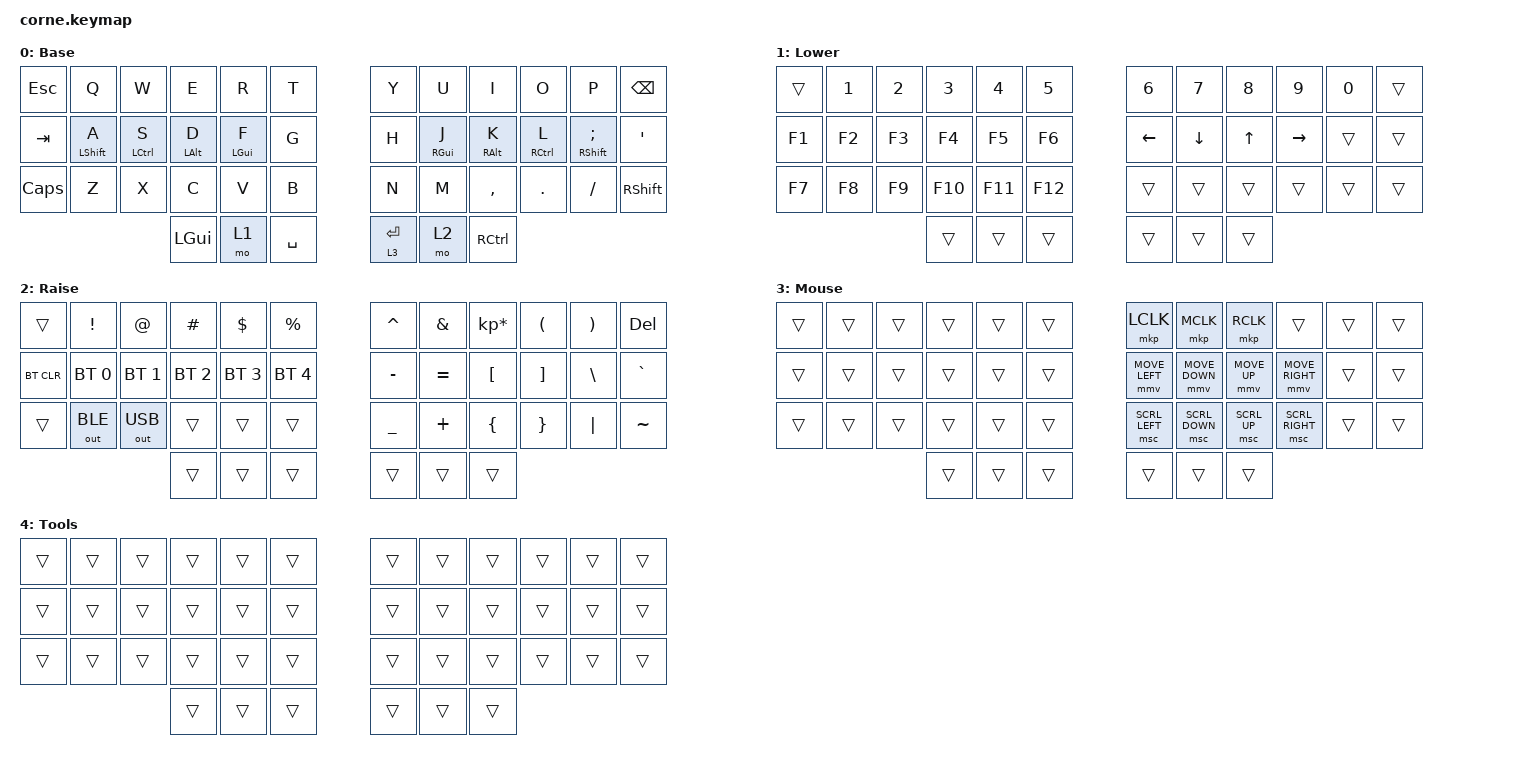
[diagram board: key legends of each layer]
/*
 * Copyright (c) 2020 The ZMK Contributors
 *
 * SPDX-License-Identifier: MIT
 */

#define ZMK_POINTING_DEFAULT_MOVE_VAL 1200  // default 600
#define ZMK_POINTING_DEFAULT_SCRL_VAL 20    // default 10

#include <behaviors.dtsi>
#include <dt-bindings/zmk/bt.h>
#include <dt-bindings/zmk/keys.h>
#include <dt-bindings/zmk/outputs.h>
#include <dt-bindings/zmk/pointing.h>

/ {
    behaviors {
        ht: ht {
            compatible = "zmk,behavior-hold-tap";
            label = "Hold Tap";
            bindings = <&kp>, <&kp>;

            #binding-cells = <2>;
            tapping-term-ms = <200>;
            flavor = "tap-preferred";
            hold-trigger-key-positions = <0 1 2 4 5 3 12 13 14 15 16 17 24 25 26 27 28 29 36 37 38 6 7 8 9 10 11 18 19 20 21 22 23 30 31 32 33 34 35 39 40 41>;
        };
    };

    keymap {
        compatible = "zmk,keymap";

        default_layer {
            // -----------------------------------------------------------------------------------------
            // |  TAB |  Q  |  W  |  E  |  R  |  T  |   |  Y  |  U   |  I  |  O  |  P  | BKSP |
            // | CTRL |  A  |  S  |  D  |  F  |  G  |   |  H  |  J   |  K  |  L  |  ;  |  '   |
            // | SHFT |  Z  |  X  |  C  |  V  |  B  |   |  N  |  M   |  ,  |  .  |  /  | ESC  |
            //                    | GUI | LWR | SPC |   | ENT | RSE  | ALT |

            display-name = "Base";
            bindings = <
&kp ESCAPE    &kp Q             &kp W               &kp E           &kp R           &kp T        &kp Y      &kp U            &kp I              &kp O                &kp P                 &kp BSPC
&kp TAB       &mt LEFT_SHIFT A  &mt LEFT_CONTROL S  &mt LEFT_ALT D  &mt LEFT_GUI F  &kp G        &kp H      &mt RIGHT_GUI J  &mt RIGHT_ALT K    &mt RIGHT_CONTROL L  &mt RIGHT_SHIFT SEMI  &kp SQT
&kp CAPSLOCK  &kp Z             &kp X               &kp C           &kp V           &kp B        &kp N      &kp M            &kp COMMA          &kp DOT              &kp FSLH              &kp RIGHT_SHIFT
                                                    &kp LGUI        &mo 1           &kp SPACE    &lt 3 RET  &mo 2            &kp RIGHT_CONTROL
            >;
        };

        lower_layer {
            // -----------------------------------------------------------------------------------------
            // |  TAB |  1  |  2  |  3  |  4  |  5  |   |  6  |  7  |  8  |  9  |  0  | BKSP |
            // | BTCLR| BT1 | BT2 | BT3 | BT4 | BT5 |   | LFT | DWN |  UP | RGT |     |      |
            // | SHFT |     |     |     |     |     |   |     |     |     |     |     |      |
            //                    | GUI |     | SPC |   | ENT |     | ALT |

            display-name = "Lower";
            bindings = <
&trans  &kp N1  &kp N2  &kp N3   &kp N4   &kp N5     &kp N6    &kp N7    &kp N8  &kp N9     &kp N0  &trans
&kp F1  &kp F2  &kp F3  &kp F4   &kp F5   &kp F6     &kp LEFT  &kp DOWN  &kp UP  &kp RIGHT  &trans  &trans
&kp F7  &kp F8  &kp F9  &kp F10  &kp F11  &kp F12    &trans    &trans    &trans  &trans     &trans  &trans
                        &trans   &trans   &trans     &trans    &trans    &trans
            >;
        };

        raise_layer {
            // -----------------------------------------------------------------------------------------
            // |  TAB |  !  |  @  |  #  |  $  |  %  |   |  ^  |  &  |  *  |  (  |  )  | BKSP |
            // | CTRL |     |     |     |     |     |   |  -  |  =  |  [  |  ]  |  \  |  `   |
            // | SHFT |     |     |     |     |     |   |  _  |  +  |  {  |  }  | "|" |  ~   |
            //                    | GUI |     | SPC |   | ENT |     | ALT |

            display-name = "Raise";
            bindings = <
&trans      &kp EXCL      &kp AT        &kp HASH      &kp DLLR      &kp PRCNT       &kp CARET  &kp AMPS   &kp KP_MULTIPLY  &kp LPAR  &kp RPAR  &kp DELETE
&bt BT_CLR  &bt BT_SEL 0  &bt BT_SEL 1  &bt BT_SEL 2  &bt BT_SEL 3  &bt BT_SEL 4    &kp MINUS  &kp EQUAL  &kp LBKT         &kp RBKT  &kp BSLH  &kp GRAVE
&trans      &out OUT_BLE  &out OUT_USB  &trans        &trans        &trans          &kp UNDER  &kp PLUS   &kp LBRC         &kp RBRC  &kp PIPE  &kp TILDE
                                        &trans        &trans        &trans          &trans     &trans     &trans
            >;
        };

        mouse_layer {
            bindings = <
&trans  &trans  &trans  &trans  &trans  &trans    &mkp LCLK       &mkp MCLK       &mkp RCLK     &trans           &trans  &trans
&trans  &trans  &trans  &trans  &trans  &trans    &mmv MOVE_LEFT  &mmv MOVE_DOWN  &mmv MOVE_UP  &mmv MOVE_RIGHT  &trans  &trans
&trans  &trans  &trans  &trans  &trans  &trans    &msc SCRL_LEFT  &msc SCRL_DOWN  &msc SCRL_UP  &msc SCRL_RIGHT  &trans  &trans
                        &trans  &trans  &trans    &trans          &trans          &trans
            >;

            label = "Mouse";
        };

        tools_layer {
            bindings = <
&trans  &trans  &trans  &trans  &trans  &trans    &trans  &trans  &trans  &trans  &trans  &trans
&trans  &trans  &trans  &trans  &trans  &trans    &trans  &trans  &trans  &trans  &trans  &trans
&trans  &trans  &trans  &trans  &trans  &trans    &trans  &trans  &trans  &trans  &trans  &trans
                        &trans  &trans  &trans    &trans  &trans  &trans
            >;

            label = "Tools";
        };
    };
};
